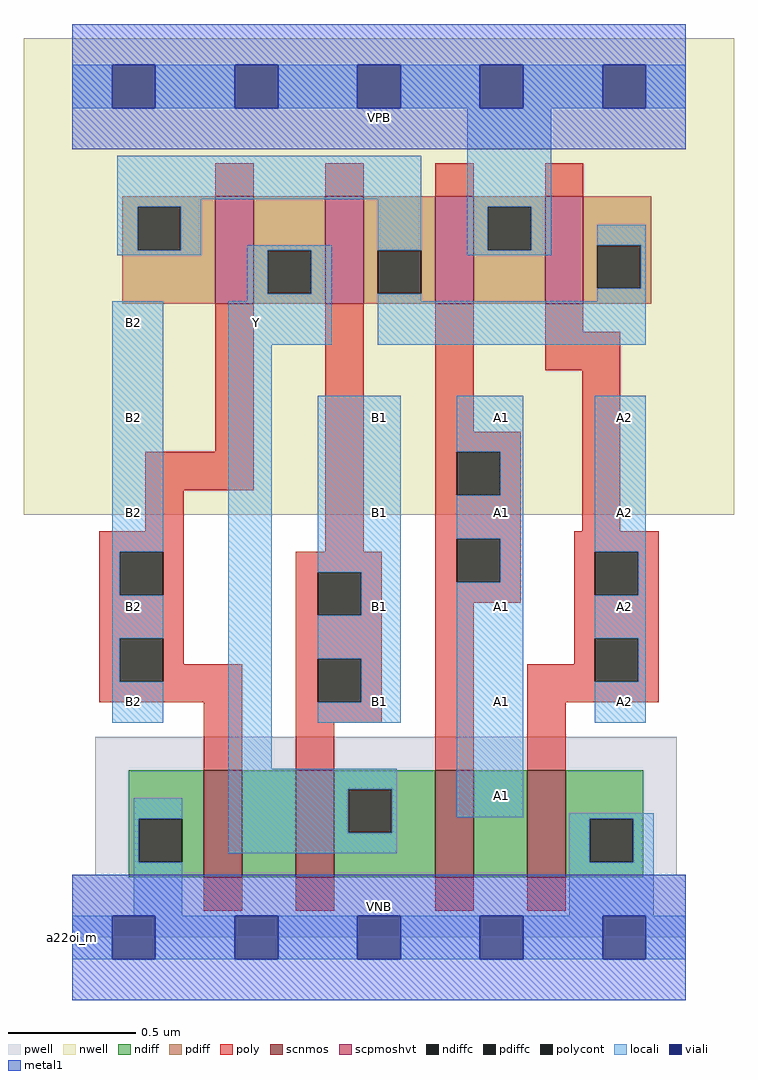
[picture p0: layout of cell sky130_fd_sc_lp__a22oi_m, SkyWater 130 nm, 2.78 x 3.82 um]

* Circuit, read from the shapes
.subckt sky130_fd_sc_lp__a22oi_m A1 A2 B1 B2 VGND VNB VPB VPWR Y
XM1 n1 B2 VGND VNB sky130_fd_pr__nfet_01v8 w=0.42 l=0.15
XM2 Y B1 n1 VNB sky130_fd_pr__nfet_01v8 w=0.42 l=0.15
XM3 n2 A1 Y VNB sky130_fd_pr__nfet_01v8 w=0.42 l=0.15
XM4 VGND A2 n2 VNB sky130_fd_pr__nfet_01v8 w=0.42 l=0.15
XM5 Y B2 n3 VPB sky130_fd_pr__pfet_01v8_hvt w=0.42 l=0.15
XM6 n3 B1 Y VPB sky130_fd_pr__pfet_01v8_hvt w=0.42 l=0.15
XM7 VPWR A1 n3 VPB sky130_fd_pr__pfet_01v8_hvt w=0.42 l=0.15
XM8 n3 A2 VPWR VPB sky130_fd_pr__pfet_01v8_hvt w=0.42 l=0.15
.ends

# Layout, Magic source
magic
tech sky130A
magscale 1 2
<< nwell >>
rect -38 331 518 704
<< pwell >>
rect 18 49 473 157
rect 0 0 480 49
<< scnmos >>
rect 103 47 133 131
rect 175 47 205 131
rect 284 47 314 131
rect 356 47 386 131
<< scpmoshvt >>
rect 112 496 142 580
rect 198 496 228 580
rect 284 496 314 580
rect 370 496 400 580
<< ndiff >>
rect 44 93 103 131
rect 44 59 52 93
rect 86 59 103 93
rect 44 47 103 59
rect 133 47 175 131
rect 205 116 284 131
rect 205 82 216 116
rect 250 82 284 116
rect 205 47 284 82
rect 314 47 356 131
rect 386 93 447 131
rect 386 59 405 93
rect 439 59 447 93
rect 386 47 447 59
<< pdiff >>
rect 39 572 112 580
rect 39 538 51 572
rect 85 538 112 572
rect 39 496 112 538
rect 142 538 198 580
rect 142 504 153 538
rect 187 504 198 538
rect 142 496 198 504
rect 228 538 284 580
rect 228 504 239 538
rect 273 504 284 538
rect 228 496 284 504
rect 314 572 370 580
rect 314 538 325 572
rect 359 538 370 572
rect 314 496 370 538
rect 400 542 453 580
rect 400 508 411 542
rect 445 508 453 542
rect 400 496 453 508
<< ndiffc >>
rect 52 59 86 93
rect 216 82 250 116
rect 405 59 439 93
<< pdiffc >>
rect 51 538 85 572
rect 153 504 187 538
rect 239 504 273 538
rect 325 538 359 572
rect 411 508 445 542
<< poly >>
rect 112 580 142 606
rect 198 580 228 606
rect 284 580 314 606
rect 370 580 400 606
rect 112 380 142 496
rect 57 350 142 380
rect 57 318 87 350
rect 21 302 87 318
rect 198 302 228 496
rect 284 396 314 496
rect 370 474 400 496
rect 370 444 429 474
rect 284 380 351 396
rect 284 346 301 380
rect 335 346 351 380
rect 284 312 351 346
rect 399 318 429 444
rect 21 268 37 302
rect 71 268 87 302
rect 21 234 87 268
rect 21 200 37 234
rect 71 214 87 234
rect 175 286 242 302
rect 175 252 192 286
rect 226 252 242 286
rect 175 218 242 252
rect 71 200 133 214
rect 21 184 133 200
rect 103 131 133 184
rect 175 184 192 218
rect 226 184 242 218
rect 175 168 242 184
rect 284 278 301 312
rect 335 278 351 312
rect 284 262 351 278
rect 393 302 459 318
rect 393 268 409 302
rect 443 268 459 302
rect 175 131 205 168
rect 284 131 314 262
rect 393 234 459 268
rect 393 214 409 234
rect 356 200 409 214
rect 443 200 459 234
rect 356 184 459 200
rect 356 131 386 184
rect 103 21 133 47
rect 175 21 205 47
rect 284 21 314 47
rect 356 21 386 47
<< polycont >>
rect 301 346 335 380
rect 37 268 71 302
rect 37 200 71 234
rect 192 252 226 286
rect 192 184 226 218
rect 301 278 335 312
rect 409 268 443 302
rect 409 200 443 234
<< locali >>
rect 0 649 31 683
rect 65 649 127 683
rect 161 649 223 683
rect 257 649 319 683
rect 353 649 415 683
rect 449 649 480 683
rect 35 578 273 612
rect 35 572 101 578
rect 35 538 51 572
rect 85 538 101 572
rect 35 534 101 538
rect 137 538 203 542
rect 137 504 153 538
rect 187 504 203 538
rect 137 498 203 504
rect 31 302 71 498
rect 31 268 37 302
rect 31 234 71 268
rect 31 200 37 234
rect 31 168 71 200
rect 122 464 203 498
rect 239 538 273 578
rect 309 572 375 649
rect 309 538 325 572
rect 359 538 375 572
rect 309 534 375 538
rect 411 542 449 558
rect 239 498 273 504
rect 445 508 449 542
rect 411 498 449 508
rect 239 464 449 498
rect 122 132 156 464
rect 192 286 257 424
rect 226 252 257 286
rect 192 218 257 252
rect 226 184 257 218
rect 192 168 257 184
rect 301 380 353 424
rect 335 346 353 380
rect 301 312 353 346
rect 335 278 353 312
rect 122 116 254 132
rect 48 93 86 109
rect 48 59 52 93
rect 122 82 216 116
rect 250 82 254 116
rect 301 94 353 278
rect 409 302 449 424
rect 443 268 449 302
rect 409 234 449 268
rect 443 200 449 234
rect 409 168 449 200
rect 122 66 254 82
rect 389 93 455 97
rect 48 17 86 59
rect 389 59 405 93
rect 439 59 455 93
rect 389 17 455 59
rect 0 -17 31 17
rect 65 -17 127 17
rect 161 -17 223 17
rect 257 -17 319 17
rect 353 -17 415 17
rect 449 -17 480 17
<< viali >>
rect 31 649 65 683
rect 127 649 161 683
rect 223 649 257 683
rect 319 649 353 683
rect 415 649 449 683
rect 31 -17 65 17
rect 127 -17 161 17
rect 223 -17 257 17
rect 319 -17 353 17
rect 415 -17 449 17
<< metal1 >>
rect 0 683 480 715
rect 0 649 31 683
rect 65 649 127 683
rect 161 649 223 683
rect 257 649 319 683
rect 353 649 415 683
rect 449 649 480 683
rect 0 617 480 649
rect 0 17 480 49
rect 0 -17 31 17
rect 65 -17 127 17
rect 161 -17 223 17
rect 257 -17 319 17
rect 353 -17 415 17
rect 449 -17 480 17
rect 0 -49 480 -17
<< labels >>
flabel pwell s 0 0 480 49 0 FreeSans 200 0 0 0 VNB
port 6 nsew ground bidirectional
flabel nwell s 0 617 480 666 0 FreeSans 200 0 0 0 VPB
port 7 nsew power bidirectional
rlabel comment s 0 0 0 0 4 a22oi_m
flabel metal1 s 0 617 480 666 0 FreeSans 340 0 0 0 VPWR
port 8 nsew power bidirectional
flabel metal1 s 0 0 480 49 0 FreeSans 340 0 0 0 VGND
port 5 nsew ground bidirectional
flabel locali s 319 94 353 128 0 FreeSans 340 0 0 0 A1
port 1 nsew signal input
flabel locali s 319 168 353 202 0 FreeSans 340 0 0 0 A1
port 1 nsew signal input
flabel locali s 319 242 353 276 0 FreeSans 340 0 0 0 A1
port 1 nsew signal input
flabel locali s 319 316 353 350 0 FreeSans 340 0 0 0 A1
port 1 nsew signal input
flabel locali s 319 390 353 424 0 FreeSans 340 0 0 0 A1
port 1 nsew signal input
flabel locali s 415 168 449 202 0 FreeSans 340 0 0 0 A2
port 2 nsew signal input
flabel locali s 415 242 449 276 0 FreeSans 340 0 0 0 A2
port 2 nsew signal input
flabel locali s 415 316 449 350 0 FreeSans 340 0 0 0 A2
port 2 nsew signal input
flabel locali s 415 390 449 424 0 FreeSans 340 0 0 0 A2
port 2 nsew signal input
flabel locali s 223 168 257 202 0 FreeSans 340 0 0 0 B1
port 3 nsew signal input
flabel locali s 223 242 257 276 0 FreeSans 340 0 0 0 B1
port 3 nsew signal input
flabel locali s 223 316 257 350 0 FreeSans 340 0 0 0 B1
port 3 nsew signal input
flabel locali s 223 390 257 424 0 FreeSans 340 0 0 0 B1
port 3 nsew signal input
flabel locali s 31 168 65 202 0 FreeSans 340 0 0 0 B2
port 4 nsew signal input
flabel locali s 31 242 65 276 0 FreeSans 340 0 0 0 B2
port 4 nsew signal input
flabel locali s 31 316 65 350 0 FreeSans 340 0 0 0 B2
port 4 nsew signal input
flabel locali s 31 390 65 424 0 FreeSans 340 0 0 0 B2
port 4 nsew signal input
flabel locali s 31 464 65 498 0 FreeSans 340 0 0 0 B2
port 4 nsew signal input
flabel locali s 127 464 161 498 0 FreeSans 340 0 0 0 Y
port 9 nsew signal output
<< properties >>
string LEFsite unit
string LEFclass CORE
string FIXED_BBOX 0 0 480 666
string GDS_FILE $PDKPATH/libs.ref/sky130_fd_sc_lp/gds/sky130_fd_sc_lp.gds
string LEFsymmetry X Y R90
string GDS_END 375244
string GDS_START 368548
<< end >>
